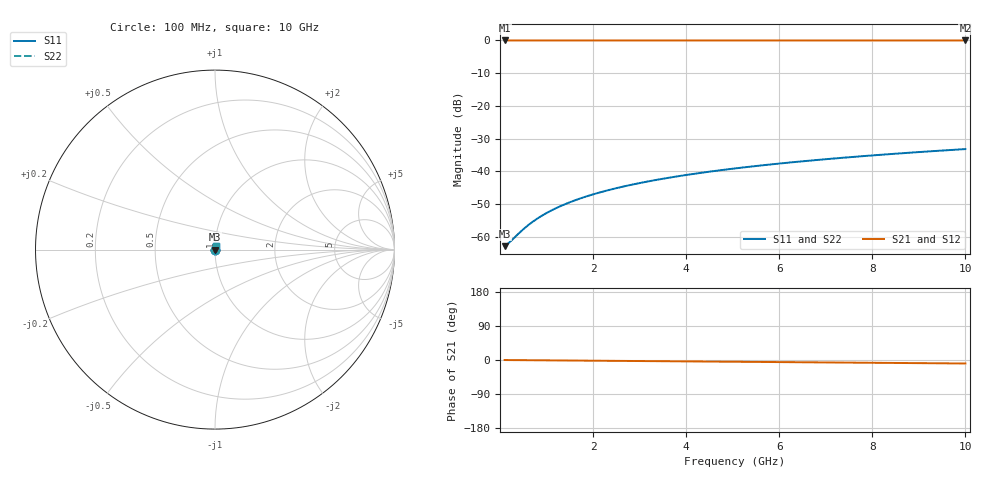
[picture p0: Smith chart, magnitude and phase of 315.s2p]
# Hz S RI R 50.00
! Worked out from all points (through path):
!   100 points, 100 MHz to 10 GHz, reference 50 ohm
!   highest |S21| = -0.01 dB at 100 MHz (marker M1); lowest = 0.0 dB at 10 GHz (marker M2)
!   group delay of S21, straight-line fit = 2.56 ps
!   lowest |S11| = -62.9 dB at 100 MHz (marker M3), VSWR 1.00, Z = 50.1 + j0.0218 ohm
!   |S11| at or under -10 dB: start of sweep to end of sweep
!   |S22| runs from -62.9 to -33.2 dB; largest |S21 - S12| = 0
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1e8  0.000682 0.000218  0.9993 -0.0016  0.9993 -0.0016  0.000682 0.000218
2e8  0.000687 0.000436  0.9993 -0.00319  0.9993 -0.00319  0.000687 0.000436
4e8  0.000696 0.000871  0.9993 -0.00639  0.9993 -0.00639  0.000696 0.000871
5e8  0.000701 0.00109  0.9993 -0.00798  0.9993 -0.00798  0.000701 0.00109
6e8  0.000706 0.00131  0.9993 -0.00958  0.9993 -0.00958  0.000706 0.00131
7e8  0.000712 0.00152  0.9992 -0.0112  0.9992 -0.0112  0.000712 0.00152
9e8  0.000725 0.00196  0.9992 -0.0144  0.9992 -0.0144  0.000725 0.00196
1.1e9  0.000741 0.0024  0.9991 -0.0176  0.9991 -0.0176  0.000741 0.0024
1.3e9  0.000759 0.00283  0.9991 -0.0208  0.9991 -0.0208  0.000759 0.00283
1.5e9  0.00078 0.00327  0.999 -0.0239  0.999 -0.0239  0.00078 0.00327
1.8e9  0.000816 0.00392  0.9989 -0.0287  0.9989 -0.0287  0.000816 0.00392
2.1e9  0.000858 0.00457  0.9987 -0.0335  0.9987 -0.0335  0.000858 0.00457
2.5e9  0.000923 0.00544  0.9984 -0.0399  0.9984 -0.0399  0.000923 0.00544
2.9e9  0.001 0.0063  0.9982 -0.0463  0.9982 -0.0463  0.001 0.0063
3.4e9  0.00111 0.00738  0.9977 -0.0543  0.9977 -0.0543  0.00111 0.00738
4.2e9  0.00132 0.00911  0.9969 -0.0671  0.9969 -0.0671  0.00132 0.00911
5.1e9  0.00162 0.011  0.9958 -0.0815  0.9958 -0.0815  0.00162 0.011
5.9e9  0.00192 0.0128  0.9947 -0.0943  0.9947 -0.0943  0.00192 0.0128
6.7e9  0.00227 0.0145  0.9933 -0.1071  0.9933 -0.1071  0.00227 0.0145
7.5e9  0.00267 0.0162  0.9918 -0.1198  0.9918 -0.1198  0.00267 0.0162
8.4e9  0.00317 0.0181  0.9899 -0.1342  0.9899 -0.1342  0.00317 0.0181
1e10  0.0042 0.0214  0.986 -0.1598  0.986 -0.1598  0.0042 0.0214
